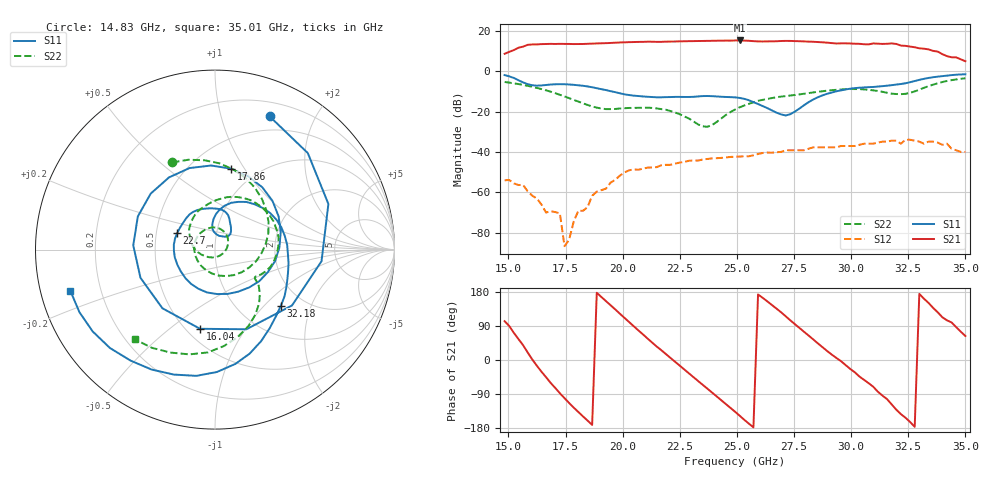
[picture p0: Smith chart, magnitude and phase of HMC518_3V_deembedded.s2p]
!Hittite Microwave Corporation
!20 Alpha Road
!Chelmsford, MA 01824
!Tel: 978-250-3343
!Fax: 978-250-3373
!Device: HMC518, 20-32 GHz, GaAs PHEMT MMIC Low Noise Amplifier Die
!Misc: Vdd1 = Vdd2 = Vdd3 = +3V, data includes two K connectors, Room
# MHZ S MA R 50
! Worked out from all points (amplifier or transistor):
!   101 points, 14.83 GHz to 35.01 GHz, reference 50 ohm
!   highest |S21| = 15.3 dB at 25.12 GHz (marker M1)
!   |S21| within 3 dB of that: 15.65 GHz to 32.57 GHz (16.91 GHz wide, 70.1 % of centre)
!   unconditionally stable (mu >= 1): start of sweep to end of sweep
!   at 18.06 GHz: K = 236.17, MAG = 14.6 dB, |S12| = -69.2 dB
!   at 24.92 GHz: K = 10.67, MAG = 15.5 dB, |S12| = -42.4 dB
!   at 35.01 GHz: K = 4.52, MAG = 13.0 dB, |S12| = -40.0 dB
!   S11 on the Smith chart (normalised r, x): 14.83 GHz: 0.35, +1.44; 16.04 GHz: 0.58, -0.64; 17.86 GHz: 0.76, +0.87; 22.7 GHz: 0.64, +0.12; 32.18 GHz: 1.54, -1.25; 35.01 GHz: 0.09, -0.14
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14831  0.802 67.7  2.703 102.4  0.001978 -71.5  0.541 116.0
15436.25  0.597 -6.2  3.822 55.3  0.001509 -88.9  0.481 86.9
16041.5  0.449 -100.7  4.609 1.4  0.0008228 -138.0  0.411 57.5
16848.5  0.468 156.7  4.767 -60.6  0.0003385 -115.5  0.311 17.0
17857.25  0.46 78.9  4.713 -125.7  0.000189 -44.3  0.195 -40.3
18260.75  0.436 52.8  4.73 -148.7  0.0003467 20.1  0.16 -67.3
19269.5  0.341 -10.8  4.957 155.4  0.001229 13.5  0.115 -147.7
20278.25  0.257 -73.7  5.251 100.4  0.003491 -24.9  0.123 137.2
21690.5  0.226 -158.5  5.354 26.0  0.004657 -78.2  0.115 68.9
22699.25  0.23 156.8  5.528 -25.1  0.005637 -114.8  0.076 19.9
23909.75  0.241 113.7  5.681 -85.7  0.006894 -156.5  0.046 -107.9
24918.5  0.225 80.0  5.783 -136.4  0.007623 165.3  0.112 179.0
25120.25  0.218 74.7  5.789 -146.9  0.007657 158.6  0.127 169.8
26129  0.137 49.2  5.455 164.1  0.009415 120.2  0.195 135.0
27137.75  0.08 73.2  5.645 115.5  0.011 76.2  0.242 107.9
28348.25  0.2 88.1  5.369 54.1  0.013 24.2  0.299 77.4
29962.25  0.369 33.4  4.87 -23.5  0.014 -42.0  0.362 26.1
30971  0.407 -3.5  4.879 -70.5  0.016 -84.2  0.335 -10.6
31778  0.451 -28.4  4.892 -117.2  0.019 -121.4  0.278 -32.0
32181.5  0.482 -40.3  4.321 -142.9  0.016 -138.6  0.27 -34.7
33795.5  0.733 -108.2  3.068 125.8  0.017 129.7  0.503 -75.4
35006  0.838 -164.2  1.766 63.3  0.01 76.9  0.67 -131.7
